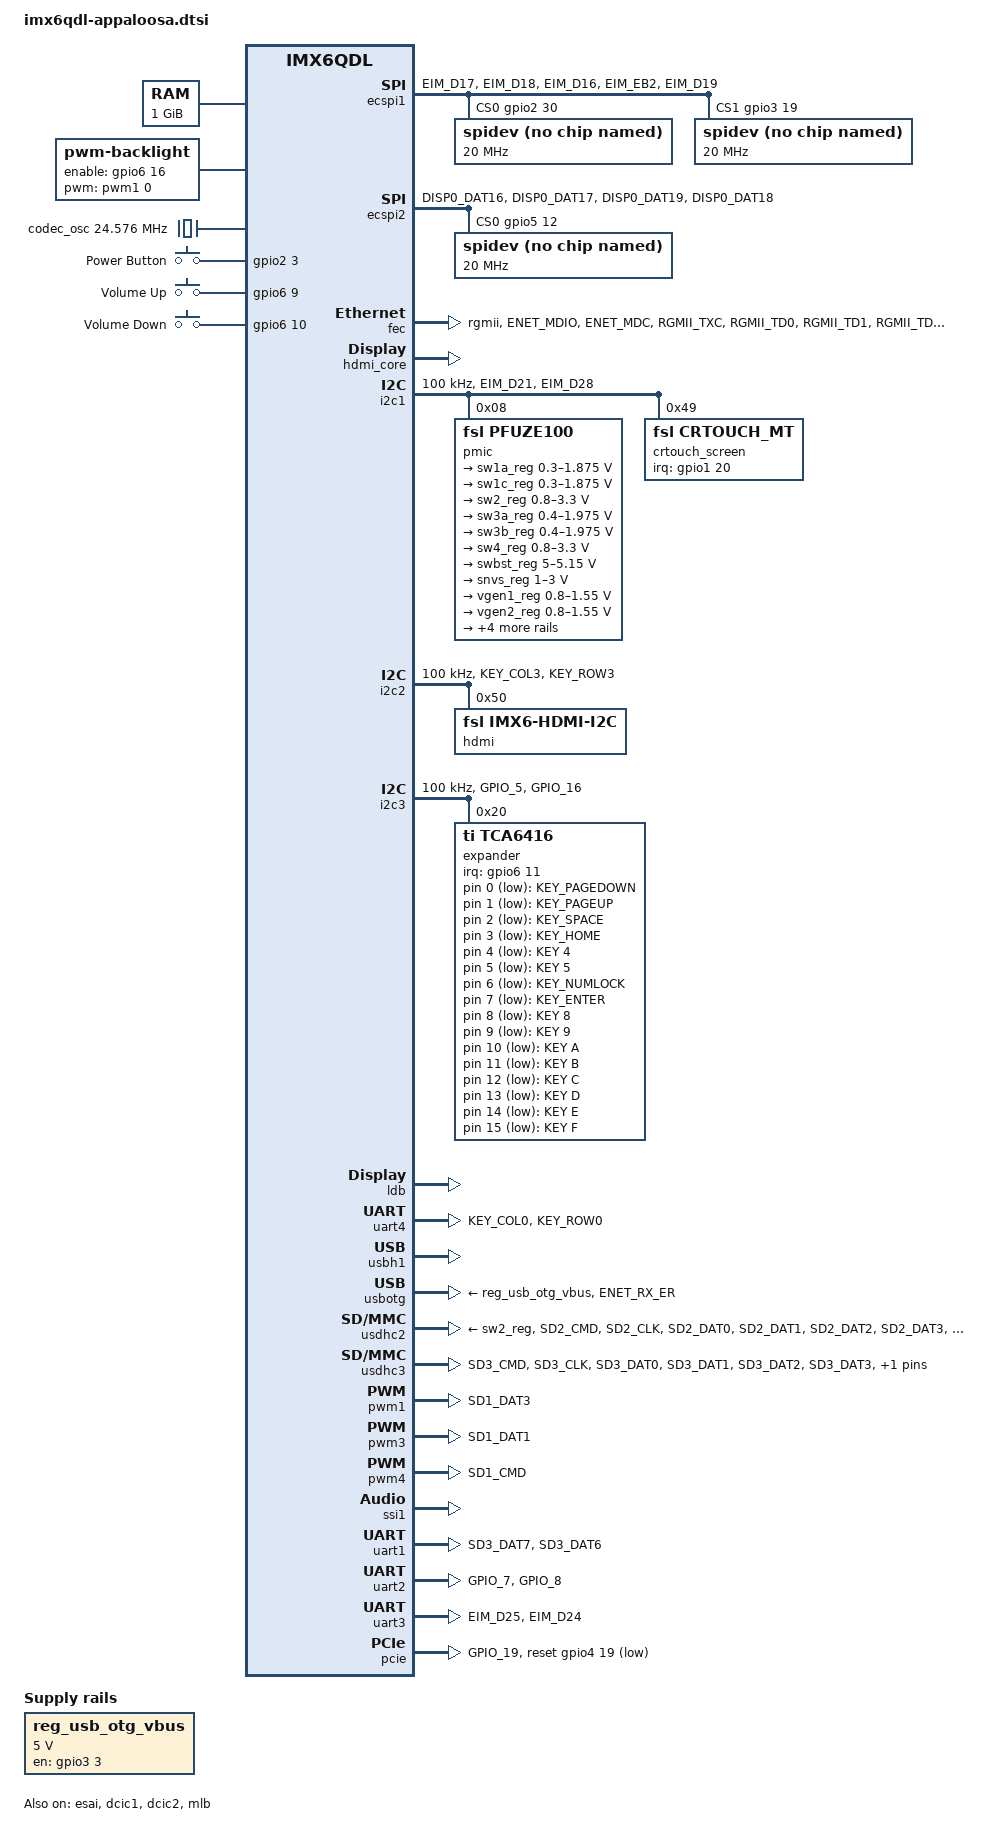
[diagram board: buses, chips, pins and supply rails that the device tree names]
/*
 * Copyright 2014 Synexxus Devices
 * Copyright 2012 Freescale Semiconductor, Inc.
 *
 * The code contained herein is licensed under the GNU General Public
 * License. You may obtain a copy of the GNU General Public License
 * Version 2 or later at the following locations:
 *
 * http://www.opensource.org/licenses/gpl-license.html
 * http://www.gnu.org/copyleft/gpl.html
 */

#include <dt-bindings/input/input.h>
#include <dt-bindings/gpio/gpio.h>

/ {
	aliases {
                mxcfb0 = &hdmi_display;
                mxcfb1 = &lvds_display;
                mxcfb2 = &lcd_display;
                mxcfb3 = &lvds_display_2;
		hdmi_display = &hdmi_display;
		lvds_display = &lvds_display;
		lcd_display = &lcd_display;
		hannstar = &XGA_LVDS0;

		lvds_display_2 = &lvds_display_2;
		hannstar_2 = &XGA_LVDS1;
		ldb = &ldb;
	};

	memory {
		reg = <0x10000000 0x40000000>;
	};

	backlight {
		compatible = "pwm-backlight";
		pwms = <&pwm1 0 5000000>;
		brightness-levels = <0 2 4 8 16 32 48 64 72 96 128 140 196 224 255>;
		default-brightness-level = <9>;

		// This is the LVDS_PANEL_EN (DISP_PWR_EN Net)
		// Was &gpio6 14 0 for the Highlander board & on Aristeus
		enable-gpios = <&gpio6 16 0>;
	};

	clocks {
		codec_osc: anaclk2 {
			compatible = "fixed-clock";
			#clock-cells = <0>;
			clock-frequency = <24576000>;
		};
	};

	regulators {
		compatible = "simple-bus";

		reg_usb_otg_vbus: usb_otg_vbus {
			compatible = "regulator-fixed";
			regulator-name = "usb_otg_vbus";
			regulator-min-microvolt = <5000000>;
			regulator-max-microvolt = <5000000>;
			gpio = <&gpio3 3 0>;		// Change dto dummy search button
			enable-active-high;
		};

	};

	gpio-keys {
		compatible = "gpio-keys";
		power {
			label = "Power Button";
			gpios = <&gpio2 3 0>;
			linux,code = <116>; /* KEY_POWER */
			gpio-key,wakeup;
		};

		volume-up {
			label = "Volume Up";
			gpios = <&gpio6 9 0>;
			linux,code = <115>; /* KEY_VOLUMEUP */
		};

		volume-down {
			label = "Volume Down";
			gpios = <&gpio6 10 0>;
			linux,code = <114>; /* KEY_VOLUMEDOWN */
		};
	};

	hdmi_display: fb@0 {
		compatible = "fsl,mxc_sdc_fb";
		disp_dev = "hdmi";
		interface_pix_fmt = "RGB24";
		mode_str ="1024x768M@60";
		default_bpp = <32>;
		int_clk = <0>;
		late_init = <0>;
		status = "disabled";
	};

	lvds_display: fb@1 {
		compatible = "fsl,mxc_sdc_fb";
		disp_dev = "ldb";
		interface_pix_fmt = "RGB666";
		//BBBdefault_bpp = <16>;
		default_bpp = <10>;
		int_clk = <0>;
		late_init = <0>;
		status = "okay";
	};

	lcd_display: fb@2 {
		compatible = "fsl,mxc_sdc_fb";
		disp_dev = "lcd";
		interface_pix_fmt = "RGB666";
		default_bpp = <16>;
		int_clk = <0>;
		late_init = <0>;
		status = "disabled";
	};

	lvds_display_2: fb@3 {
		compatible = "fsl,mxc_sdc_fb";
		disp_dev = "ldb";
		interface_pix_fmt = "RGB666";
		//BBBdefault_bpp = <16>;
		default_bpp = <10>;
		int_clk = <0>;
		late_init = <0>;
		status = "okay";
	};

	lcd0: lcd@0 {
		compatible = "fsl,lcd";
		ipu_id = <0>;
		disp_id = <0>;
		default_ifmt = "RGB666";
		pinctrl-names = "default";
		pinctrl-0 = <&pinctrl_ipu1>;
		status = "disabled";
	};

	sound-hdmi {
		compatible = "fsl,imx6q-audio-hdmi",
			     "fsl,imx-audio-hdmi";
		model = "imx-audio-hdmi";
		hdmi-controller = <&hdmi_audio>;
	};

	v4l2_cap_0 {
		compatible = "fsl,imx6q-v4l2-capture";
		/* CHANGE TO 0 and 0 for PERICOM*/
		ipu_id = <1>;
		csi_id = <1>;
		mclk_source = <0>;
		status = "disabled";
	};

	v4l2_out {
		compatible = "fsl,mxc_v4l2_output";
		status = "okay";
	};
	
	gpio_keys_bezel {
		compatible = "gpio-keys";
			
		exInput0 {
			label = "KEY_PAGEDOWN";
			gpios = <&expander 0 GPIO_ACTIVE_LOW>;
			linux,code = <KEY_PAGEDOWN>;
	        };
		exInput1 {
			label = "KEY_PAGEUP";
			gpios = <&expander 1 GPIO_ACTIVE_LOW>;
			linux,code = <KEY_PAGEUP>; 
		};
		exInput2 {
			label = "KEY_SPACE";
			gpios = <&expander 2 GPIO_ACTIVE_LOW>;
			linux,code = <KEY_SPACE>;
		};
		exInput3 {
			label = "KEY_HOME";
			gpios = <&expander 3 GPIO_ACTIVE_LOW>;
			linux,code = <KEY_HOME>;
		};
		exInput4 {
                        label = "KEY 4";
                        gpios = <&expander 4 GPIO_ACTIVE_LOW>;
                        linux,code = <5>;
                };
		exInput5 {
                        label = "KEY 5";
                        gpios = <&expander 5 GPIO_ACTIVE_LOW>;
                        linux,code = <6>;
                };
		exInput6 {
			label = "KEY_NUMLOCK";
			gpios = <&expander 6 GPIO_ACTIVE_LOW>;
			linux,code = <KEY_NUMLOCK>;
		};
		exInput7 {
			label = "KEY_ENTER";
			gpios = <&expander 7 GPIO_ACTIVE_LOW>;
			linux,code = <KEY_ENTER>;
		};

		exInput8 {
                        label = "KEY 8";
                        gpios = <&expander 8 GPIO_ACTIVE_LOW>;
                        linux,code = <9>;
                };
                exInput9 {
                        label = "KEY 9";
                        gpios = <&expander 9 GPIO_ACTIVE_LOW>;
                        linux,code = <10>;
                };
                exInput10 {
                        label = "KEY A";
                        gpios = <&expander 10 GPIO_ACTIVE_LOW>;
                        linux,code = <30>;
                };
                exInput11 {
                        label = "KEY B";
                        gpios = <&expander 11 GPIO_ACTIVE_LOW>;
                        linux,code = <48>;      
                };
                exInput12 {
                        label = "KEY C";
                        gpios = <&expander 12 GPIO_ACTIVE_LOW>;
                        linux,code = <46>;      
                };
                exInput13 {
                        label = "KEY D";
                        gpios = <&expander 13 GPIO_ACTIVE_LOW>;
                        linux,code = <32>;
                };
                exInput14 {
                        label = "KEY E";
                        gpios = <&expander 14 GPIO_ACTIVE_LOW>;
                        linux,code = <18>;
                };
                exInput15 {
                        label = "KEY F";
                        gpios = <&expander 15 GPIO_ACTIVE_LOW>;
                        linux,code = <33>;
                };
	};

	leds-bezel {
		compatiable = "gpio-leds";
		pinctrl-0 = <&pinctrl_bezelled>;
		pinctrl-names = "default";
	
		bezel-blue {
			label ="BEZEL_BLUE";
			gpios = <&gpio2 2 GPIO_ACTIVE_LOW>;
		};
		bezel-green {
			label ="BEZEL_GREEN";
                        gpios = <&gpio2 1 GPIO_ACTIVE_LOW>;
		};
		
	};
};


&ecspi1 {
	fsl,spi-num-chipselects = <2>;
	cs-gpios = <&gpio2 30 0
		    &gpio3 19 0>;

	pinctrl-names = "default";
	pinctrl-0 = <&pinctrl_ecspi1 
		     &pinctrl_ecspi1_cs0
		     &pinctrl_ecspi1_cs1>;
	status = "okay";

	// First EEPROM
        spidev@0x00 {
                compatible = "spidev";
                spi-max-frequency = <20000000>;
                reg = <0>;
        };

	// Second EEPROM (boot)
        spidev@0x01 {
                compatible = "spidev";
                spi-max-frequency = <20000000>;
                reg = <1>;
        };

/*	flash: m25p80@0 {
		#address-cells = <1>;
		#size-cells = <1>;
		compatible = "st,m25p32";
		spi-max-frequency = <20000000>;
		reg = <0>;
	};
*/
};

&ecspi2 {
	fsl,spi-num-chipselects = <1>;
	cs-gpios = <&gpio5 12 0>, <0>;
	pinctrl-names = "default";
	pinctrl-0 = <&pinctrl_ecspi2
  		     &pinctrl_ecspi2_cs>;
	status = "okay";

        spidev@0x00 {
                compatible = "spidev";
                spi-max-frequency = <20000000>;
                reg = <0>;
        };
};


/*&ecspi3 {
	fsl,spi-num-chipselects = <4>;
	cs-gpios = <&gpio4 24 0>,
		   <&gpio4 25 0>,
		   <&gpio4 26 0>,
		   <&gpio4 27 0>;
	pinctrl-names = "default";
	pinctrl-0 = <&pinctrl_ecspi3_1 
	             &pinctrl_ecspi3_cs_1
		     &pinctrl_ecspi3_cs_2
		     &pinctrl_ecspi3_cs_3
		     &pinctrl_ecspi3_cs_4>;
	status = "okay";
        spidev@0x00 {
                compatible = "spidev";
                spi-max-frequency = <30000000>;
                reg = <0>;
        };
        spidev@0x01 {
                compatible = "spidev";
                spi-max-frequency = <30000000>;
                reg = <1>;
        };
        spidev@0x02 {
                compatible = "spidev";
                spi-max-frequency = <30000000>;
                reg = <2>;
        };
        spidev@0x03 {
                compatible = "spidev";
                spi-max-frequency = <30000000>;
                reg = <3>;
        };
};*/


&esai {
	pinctrl-names = "default";
	pinctrl-0 = <&pinctrl_esai2>;
	status = "okay";
};

&fec {
	pinctrl-names = "default";
	pinctrl-0 = <&pinctrl_enet>;         /* original had _4 */
	phy-mode = "rgmii";
	status = "okay";
};

/* SABRESD LDO BYPASS SETUP */
&gpc {
        fsl,ldo-bypass = <1>;
};


/* fsl,ldo-bypass = <0>;  use ldo-bypass, u-boot will check it and configure */
/* fsl,wdog-reset = <2>;  watchdog select of reset source */
/*pu-supply = <&pu_dummy>; /* ldo-bypass:use pu_dummy if VDDSOC share with VDDPU */
/* BBBBB if anything use the SABRESD LDO BYPASS REFERENCE ABOVE*/
/*&gpc {
	fsl,cpu_pupscr_sw2iso = <0xf>;
	fsl,cpu_pupscr_sw = <0xf>;
	fsl,cpu_pdnscr_iso2sw = <0x1>;
	fsl,cpu_pdnscr_iso = <0x1>;
	fsl,ldo-bypass = <0>;
	fsl,wdog-reset = <2>;
	pu-supply=<&reg_pu>;
};*/

/*  BBBB NOW SEEMS TO BE CONTROLLED BY GPC */
/*pu-supply = <&pu_dummy>;*/ /* ldo-bypass:use pu_dummy if VDDSOC share with VDDPU */
/*&gpu {
	pu-supply=<&reg_pu>;
};*/

/* Added from imx6qdl-sabresd.dtsi reference*/
&vpu {
	/*pu-supply = <&pu_dummy>;*/ /* ldo-bypass:use pu_dummy if VDDSOC share with VDDPU */
	pu-supply=<&reg_pu>;
};

&hdmi_core {
	compatible = "fsl,imx6dl-hdmi-core";
        reg = <0x00120000 0x9000>;
        clocks = <&clks 124>, <&clks 123>, <&clks 138>;
        clock-names = "hdmi_isfr", "hdmi_iahb", "mipi_core";
	ipu_id = <0>;
	disp_id = <1>;
        status = "okay";
};

/*&hdmi_video: hdmi_video@020e0000 {*/

&hdmi_video {
	compatible = "fsl,imx6dl-hdmi-video";
        reg =  <0x020e0000 0x1000>;
        reg-names = "hdmi_gpr";
        interrupts = <0 115 0x04>;
        clocks = <&clks 124>, <&clks 123>, <&clks 138>;
        clock-names = "hdmi_isfr", "hdmi_iahb", "mipi_core";
        status = "disabled";
};

/*hdmi_audio: hdmi_audio@00120000 {*/
&hdmi_audio {
	compatible = "fsl,imx6dl-hdmi-audio";
        clocks = <&clks 124>, <&clks 123>, <&clks 138>;
        clock-names = "hdmi_isfr", "hdmi_iahb", "mipi_core";
        dmas = <&sdma 2 22 0>;
        dma-names = "tx";
        status = "disabled";
};


/*hdmi_cec: hdmi_cec@00120000 {*/
&hdmi_cec {
	compatible = "fsl,imx6dl-hdmi-cec";
        interrupts = <0 115 0x04>;
    	pinctrl-names = "default";
    	pinctrl-0 = <&pinctrl_hdmi_cec>;  // Use EIM_A25 for CEC_IN
        status = "disabled";
};

&i2c1 {
    clock-frequency = <100000>;
    pinctrl-names = "default";
    pinctrl-0 = <&pinctrl_i2c1>;
    status = "okay";

	/*adv7604_camera: adv7604_camera@20 { 	// i2c1 driver 
		compatible = "adv,adv7604_camera";
		reg = <0x20>;
		pinctrl-names = "default";
		pinctrl-0 = <&pinctrl_ipu2_2>;
		clocks = <&clks 201>;
		clock-names = "csi_mclk";
		DOVDD-supply = <&sw2_reg>; 	// 3.3v 
		AVDD-supply = <&vgen4_reg>;  	// 1.8v 
		DVDD-supply = <&sw2_reg>;  	// 1.8v 
		//pwn-gpios = <&gpio6 9 1>;   	// Not True 
		//rst-gpios = <&gpio1 4 0>;   	// Reset Signal 
		//pwn-gpios = <&gpio5 27 1>;	// ARISTEUS TEST BOARD POWER DOWN 
		pwn-gpios = <&gpio6 3 0>;	// ARISTEUS TEST BOARD POWER DOWN #2
		rst-gpios = <&gpio6 1 0>;	// ARISTEUS TEST BOARD RESET 
		ipu_id = <1>;
		csi_id = <1>;
		//mclk = <24000000>;		// Gated Mode
		mclk = <0>;			// BT.656
		mclk_source = <0>;
	};*/

	pmic: pfuze100@08 {
		compatible = "fsl,pfuze100";
			reg = <0x08>;

			regulators {
				sw1a_reg: sw1ab {
				regulator-min-microvolt = <300000>;
				regulator-max-microvolt = <1875000>;
				regulator-boot-on;
				regulator-always-on;
				regulator-ramp-delay = <6250>;
			};

			sw1c_reg: sw1c {
				regulator-min-microvolt = <300000>;
				regulator-max-microvolt = <1875000>;
				regulator-boot-on;
				regulator-always-on;
				regulator-ramp-delay = <6250>;
			};

			sw2_reg: sw2 {
				regulator-min-microvolt = <800000>;
				regulator-max-microvolt = <3300000>;
				regulator-boot-on;
				regulator-always-on;
			};

			sw3a_reg: sw3a {
				regulator-min-microvolt = <400000>;
				regulator-max-microvolt = <1975000>;
				regulator-boot-on;
				regulator-always-on;
			};

			sw3b_reg: sw3b {
				regulator-min-microvolt = <400000>;
				regulator-max-microvolt = <1975000>;
				regulator-boot-on;
				regulator-always-on;
			};

			sw4_reg: sw4 {
				regulator-min-microvolt = <800000>;
				regulator-max-microvolt = <3300000>;
			};

			swbst_reg: swbst {
				regulator-min-microvolt = <5000000>;
				regulator-max-microvolt = <5150000>;
			};

			snvs_reg: vsnvs {
				regulator-min-microvolt = <1000000>;
				regulator-max-microvolt = <3000000>;
				regulator-boot-on;
				regulator-always-on;
			};

			vref_reg: vrefddr {
				regulator-boot-on;
				regulator-always-on;
			};

			vgen1_reg: vgen1 {
				regulator-min-microvolt = <800000>;
				regulator-max-microvolt = <1550000>;
			};

			vgen2_reg: vgen2 {
				regulator-min-microvolt = <800000>;
				regulator-max-microvolt = <1550000>;
			};

			vgen3_reg: vgen3 {
				regulator-min-microvolt = <1800000>;
				regulator-max-microvolt = <3300000>;
			};

			vgen4_reg: vgen4 {
				regulator-min-microvolt = <1800000>;
				regulator-max-microvolt = <3300000>;
				regulator-always-on;
			};

			vgen5_reg: vgen5 {
				regulator-min-microvolt = <1800000>;
				regulator-max-microvolt = <3300000>;
				regulator-always-on;
			};

			vgen6_reg: vgen6 {
				regulator-min-microvolt = <1800000>;
				regulator-max-microvolt = <3300000>;
				regulator-always-on;
			};
		};
	};
	crtouch_screen: crtouch@49 {
		compatible = "fsl,crtouch_mt";
		reg = <0x49>;
		interrupt-parent = <&gpio1>;
		interrupts = <20 0x2>; /*Pin Active high to low edge*/
	};

};


&i2c2 {
	clock-frequency = <100000>;
	pinctrl-names = "default";
	pinctrl-0 = <&pinctrl_i2c2>;
	status = "okay";

	hdmi: edid@50 {
                compatible = "fsl,imx6-hdmi-i2c";
                reg = <0x50>;
        };

	/* Pericom is on this one! */
};

&i2c3 {
	clock-frequency = <100000>;
	pinctrl-names = "default";
	pinctrl-0 = <&pinctrl_i2c3>;
	status = "okay";


	expander: tca6416@20 {
		compatible = "ti,tca6416";
		reg = <0x20>;
		interrupt-parent = <&gpio6>;
		interrupts = <11 0x2>; /*Pin Active high to low edge*/
		#gpio-cells = <2>;
		gpio-controller;
	};
};

&iomuxc {
	pinctrl-names = "default";
	pinctrl-0 = <&pinctrl_hog>;

	imx6q-appaloosa {
		pinctrl_hog: hoggrp {
			fsl,pins = <
				//MX6QDL_PAD_GPIO_19__GPIO4_IO05          0x1b0b0		/* CAN STBY */
				//MX6QDL_PAD_EIM_D19__GPIO3_IO19      	0x80000000  	/* spi-nor CS1 */
				MX6QDL_PAD_ENET_RXD0__GPIO1_IO27    	0x000b0     	/* ethernet phy reset */
				MX6QDL_PAD_ENET_TX_EN__GPIO1_IO28   	0x1b0b0     	/* ethernet phy interrupt */
				MX6QDL_PAD_SD3_DAT5__GPIO7_IO00     	0x80000000  	/* USDHC3 CD */
				MX6QDL_PAD_GPIO_17__GPIO7_IO12      	0x0b0b0       	/* USB Hub Reset */

				//MX6QDL_PAD_NANDF_WP_B__GPIO6_IO09	0x0b0b0		/* (Output with pullup) USDHC4 (eMMC) RESET Signal*/
				//MX6QDL_PAD_NANDF_WP_B__GPIO6_IO09	0x80000000		/* Use u-boot's configuration USDHC4 (eMMC) RESET Signal*/
				MX6QDL_PAD_NANDF_CS3__GPIO6_IO16	0x1b0b0		/* EN/VDDIO signal for the backlight driver (LP8860) */
				MX6QDL_PAD_NANDF_CS1__GPIO6_IO14	0x1b0b0		/* PANEL Enable Signal GPIO */
				>;
		};

		pinctrl_pcie: pciegrp {
			fsl,pins = <
				//MX6QDL_PAD_NANDF_WP_B__IPU2_SISG5                 0x000b0         /* pcie reset ==> Used to be emmc reset. Is pin E15 GPIO6 IO09*/
				//MX6QDL_PAD_SD4_DAT7__GPIO2_IO15		0x000b0		/* REV. 3 PCIE reset */
				MX6QDL_PAD_GPIO_19__GPIO4_IO05			0x000b0		/* REV. 4 PCIE Reset */
				//MX6QDL_PAD_GPIO_19__GPIO4_IO05		0x0b0b0		/* Power-on-GPIO*/
				//MX6QDL_PAD_GPIO_17__GPIO7_IO12		0x0b0b0		/* False wake up signal*/
				//MX6QDL_PAD_NANDF_D1__GPIO2_IO01		0x000b0		/* disable-gpio*/
			>;
		};
		
		pinctrl_bezelled: bezelled {
			fsl,pins = <
				MX6QDL_PAD_NANDF_D1__GPIO2_IO01		0x80000000	/* Green LED Switch (On/Off) GPIO */
				MX6QDL_PAD_NANDF_D2__GPIO2_IO02		0x80000000	/* Blue  LED Swotcj (On/Off) GPIO */ 
			>;
		};
		/* 8-Bit Parallel Camera */
		pinctrl_ipu2_2: ipu2grp-2 {
                    fsl,pins = <
                            MX6QDL_PAD_EIM_DA9__IPU2_CSI1_DATA00            0x80000000
                            MX6QDL_PAD_EIM_DA8__IPU2_CSI1_DATA01            0x80000000
                            MX6QDL_PAD_EIM_DA7__IPU2_CSI1_DATA02            0x80000000
                            MX6QDL_PAD_EIM_DA6__IPU2_CSI1_DATA03            0x80000000
                            MX6QDL_PAD_EIM_DA5__IPU2_CSI1_DATA04            0x80000000
                            MX6QDL_PAD_EIM_DA4__IPU2_CSI1_DATA05            0x80000000
                            MX6QDL_PAD_EIM_DA3__IPU2_CSI1_DATA06            0x80000000
                            MX6QDL_PAD_EIM_DA2__IPU2_CSI1_DATA07            0x80000000
                            MX6QDL_PAD_EIM_DA1__IPU2_CSI1_DATA08            0x80000000
                            MX6QDL_PAD_EIM_DA0__IPU2_CSI1_DATA09            0x80000000
                            MX6QDL_PAD_EIM_EB1__IPU2_CSI1_DATA10            0x80000000
                            MX6QDL_PAD_EIM_EB0__IPU2_CSI1_DATA11            0x80000000
                            MX6QDL_PAD_EIM_A17__IPU2_CSI1_DATA12            0x80000000
                            MX6QDL_PAD_EIM_A18__IPU2_CSI1_DATA13            0x80000000
                            MX6QDL_PAD_EIM_A19__IPU2_CSI1_DATA14            0x80000000
                            MX6QDL_PAD_EIM_A20__IPU2_CSI1_DATA15            0x80000000
                            MX6QDL_PAD_EIM_A21__IPU2_CSI1_DATA16            0x80000000
                            MX6QDL_PAD_EIM_A22__IPU2_CSI1_DATA17            0x80000000
                            MX6QDL_PAD_EIM_A23__IPU2_CSI1_DATA18            0x80000000
                            MX6QDL_PAD_EIM_A24__IPU2_CSI1_DATA19            0x80000000
                            MX6QDL_PAD_EIM_A16__IPU2_CSI1_PIXCLK            0x80000000
                            MX6QDL_PAD_EIM_DA11__IPU2_CSI1_HSYNC            0x80000000
                            MX6QDL_PAD_EIM_DA12__IPU2_CSI1_VSYNC            0x80000000
                            MX6QDL_PAD_EIM_DA10__GPIO3_IO10             0xb0b1
                    >;
                };

                /* 16-bit Parallel Port*/
                pinctrl_ipu2_3: ipu2grp-3 {
                    fsl,pins = <
                            MX6QDL_PAD_EIM_A16__IPU2_CSI1_PIXCLK            0x80000000
                            MX6QDL_PAD_EIM_DA11__IPU2_CSI1_HSYNC            0x80000000
                            MX6QDL_PAD_EIM_DA12__IPU2_CSI1_VSYNC            0x80000000
                            MX6QDL_PAD_EIM_DA10__IPU2_CSI1_DATA_EN          0x80000000
                            MX6QDL_PAD_EIM_DA9__IPU2_CSI1_DATA00            0x80000000
                            MX6QDL_PAD_EIM_DA8__IPU2_CSI1_DATA01            0x80000000
                            MX6QDL_PAD_EIM_DA7__IPU2_CSI1_DATA02            0x80000000
                            MX6QDL_PAD_EIM_DA6__IPU2_CSI1_DATA03            0x80000000
                            MX6QDL_PAD_EIM_DA5__IPU2_CSI1_DATA04            0x80000000
                            MX6QDL_PAD_EIM_DA4__IPU2_CSI1_DATA05            0x80000000
                            MX6QDL_PAD_EIM_DA3__IPU2_CSI1_DATA06            0x80000000
                            MX6QDL_PAD_EIM_DA2__IPU2_CSI1_DATA07            0x80000000
                            MX6QDL_PAD_EIM_DA1__IPU2_CSI1_DATA08            0x80000000
                            MX6QDL_PAD_EIM_DA0__IPU2_CSI1_DATA09            0x80000000
                            MX6QDL_PAD_EIM_EB1__IPU2_CSI1_DATA10            0x80000000
                            MX6QDL_PAD_EIM_EB0__IPU2_CSI1_DATA11            0x80000000
                            MX6QDL_PAD_EIM_A17__IPU2_CSI1_DATA12            0x80000000
                            MX6QDL_PAD_EIM_A18__IPU2_CSI1_DATA13            0x80000000
                            MX6QDL_PAD_EIM_A19__IPU2_CSI1_DATA14            0x80000000
                            MX6QDL_PAD_EIM_A20__IPU2_CSI1_DATA15            0x80000000
                    >;
                };
		pinctrl_audmux_4: audmux-4 {
                        fsl,pins = <
                                MX6QDL_PAD_KEY_COL0__AUD5_TXC  0x130b0
                                MX6QDL_PAD_KEY_ROW0__AUD5_TXD  0x130b0
                                MX6QDL_PAD_KEY_ROW1__AUD5_RXD  0x130b0
                                MX6QDL_PAD_KEY_COL1__AUD5_TXFS  0x130b0
                        >;
                };

		pinctrl_enet: enetgrp {
                 	fsl,pins = <
                         	MX6QDL_PAD_ENET_MDIO__ENET_MDIO       0x1b0b0
                         	MX6QDL_PAD_ENET_MDC__ENET_MDC         0x1b0b0
                         	MX6QDL_PAD_RGMII_TXC__RGMII_TXC       0x1b0b0
                         	MX6QDL_PAD_RGMII_TD0__RGMII_TD0       0x1b0b0
                         	MX6QDL_PAD_RGMII_TD1__RGMII_TD1       0x1b0b0
                         	MX6QDL_PAD_RGMII_TD2__RGMII_TD2       0x1b0b0
                         	MX6QDL_PAD_RGMII_TD3__RGMII_TD3       0x1b0b0
                         	MX6QDL_PAD_RGMII_TX_CTL__RGMII_TX_CTL 0x1b0b0
                         	MX6QDL_PAD_ENET_REF_CLK__ENET_TX_CLK  0x1b0b0
                         	MX6QDL_PAD_RGMII_RXC__RGMII_RXC       0x1b0b0
                         	MX6QDL_PAD_RGMII_RD0__RGMII_RD0       0x1b0b0
                         	MX6QDL_PAD_RGMII_RD1__RGMII_RD1       0x1b0b0
                         	MX6QDL_PAD_RGMII_RD2__RGMII_RD2       0x1b0b0
                         	MX6QDL_PAD_RGMII_RD3__RGMII_RD3       0x1b0b0
                         	MX6QDL_PAD_RGMII_RX_CTL__RGMII_RX_CTL 0x1b0b0
                 	>;
         	};

		pinctrl_ipu1: ipu1grp {
                 	fsl,pins = <
                         	MX6QDL_PAD_DI0_DISP_CLK__IPU1_DI0_DISP_CLK 0x10
                         	MX6QDL_PAD_DI0_PIN15__IPU1_DI0_PIN15       0x10
                         	MX6QDL_PAD_DI0_PIN2__IPU1_DI0_PIN02        0x10
                         	MX6QDL_PAD_DI0_PIN3__IPU1_DI0_PIN03        0x10
                         	MX6QDL_PAD_DISP0_DAT0__IPU1_DISP0_DATA00   0x10
                         	MX6QDL_PAD_DISP0_DAT1__IPU1_DISP0_DATA01   0x10
                         	MX6QDL_PAD_DISP0_DAT2__IPU1_DISP0_DATA02   0x10
                         	MX6QDL_PAD_DISP0_DAT3__IPU1_DISP0_DATA03   0x10
                         	MX6QDL_PAD_DISP0_DAT4__IPU1_DISP0_DATA04   0x10
                         	MX6QDL_PAD_DISP0_DAT5__IPU1_DISP0_DATA05   0x10
                         	MX6QDL_PAD_DISP0_DAT6__IPU1_DISP0_DATA06   0x10
                         	MX6QDL_PAD_DISP0_DAT7__IPU1_DISP0_DATA07   0x10
                         	MX6QDL_PAD_DISP0_DAT8__IPU1_DISP0_DATA08   0x10
                         	MX6QDL_PAD_DISP0_DAT9__IPU1_DISP0_DATA09   0x10
                        	MX6QDL_PAD_DISP0_DAT10__IPU1_DISP0_DATA10  0x10
                         	MX6QDL_PAD_DISP0_DAT11__IPU1_DISP0_DATA11  0x10
                         	MX6QDL_PAD_DISP0_DAT12__IPU1_DISP0_DATA12  0x10
                         	MX6QDL_PAD_DISP0_DAT13__IPU1_DISP0_DATA13  0x10
                         	MX6QDL_PAD_DISP0_DAT14__IPU1_DISP0_DATA14  0x10
                         	MX6QDL_PAD_DISP0_DAT15__IPU1_DISP0_DATA15  0x10
                         	MX6QDL_PAD_DISP0_DAT16__IPU1_DISP0_DATA16  0x10
                         	MX6QDL_PAD_DISP0_DAT17__IPU1_DISP0_DATA17  0x10
                         	MX6QDL_PAD_DISP0_DAT18__IPU1_DISP0_DATA18  0x10
                         	MX6QDL_PAD_DISP0_DAT19__IPU1_DISP0_DATA19  0x10
                         	MX6QDL_PAD_DISP0_DAT20__IPU1_DISP0_DATA20  0x10
                         	MX6QDL_PAD_DISP0_DAT21__IPU1_DISP0_DATA21  0x10
                         	MX6QDL_PAD_DISP0_DAT22__IPU1_DISP0_DATA22  0x10
                         	MX6QDL_PAD_DISP0_DAT23__IPU1_DISP0_DATA23  0x10
                 	>;
         	};

		pinctrl_mlb: mlbgrp {
                        fsl,pins = <
                                MX6QDL_PAD_ENET_TXD1__MLB_CLK 0x80000000
                                MX6QDL_PAD_GPIO_6__MLB_SIG    0x80000000
                                MX6QDL_PAD_GPIO_2__MLB_DATA   0x80000000
                        >;
                };

		pinctrl_pwm1: pwm1grp {
                        fsl,pins = <
                                MX6QDL_PAD_SD1_DAT3__PWM1_OUT 0x1b0b1
                        >;
                };

		pinctrl_pwm3: pwm3grp {
                 	fsl,pins = <
                         	MX6QDL_PAD_SD1_DAT1__PWM3_OUT 0x1b0b1
                 	>;
         	};

         	pinctrl_pwm4: pwm4grp {
                 	fsl,pins = <
                         	MX6QDL_PAD_SD1_CMD__PWM4_OUT 0x1b0b1
                 	>;
         	};

         	pinctrl_uart1: uart1grp {
                 	fsl,pins = <
                         	MX6QDL_PAD_SD3_DAT7__UART1_TX_DATA 0x1b0b1
                         	MX6QDL_PAD_SD3_DAT6__UART1_RX_DATA 0x1b0b1
                 	>;
         	};

         	pinctrl_uart2: uart2grp {
                 	fsl,pins = <
                         	MX6QDL_PAD_GPIO_7__UART2_TX_DATA 0x1b0b1
                         	MX6QDL_PAD_GPIO_8__UART2_RX_DATA 0x1b0b1
                 	>;
        	};

         	pinctrl_uart3: uart3grp {
                 	fsl,pins = <
                         	MX6QDL_PAD_EIM_D25__UART3_RX_DATA 0x1b0b1
                         	MX6QDL_PAD_EIM_D24__UART3_TX_DATA 0x1b0b1
                 	>;
         	};

		pinctrl_uart4: uart4grp {
                        fsl,pins = <
                                MX6QDL_PAD_KEY_COL0__UART4_TX_DATA 0x1b0b1
                                MX6QDL_PAD_KEY_ROW0__UART4_RX_DATA 0x1b0b1
                        >;
                };

		pinctrl_esai2: esaigrp2 {
                        fsl,pins = <
                                MX6QDL_PAD_ENET_CRS_DV__ESAI_TX_CLK 0x1b030
                                MX6QDL_PAD_ENET_RXD1__ESAI_TX_FS    0x1b030
                                MX6QDL_PAD_ENET_TX_EN__ESAI_TX3_RX2 0x1b030
                                MX6QDL_PAD_GPIO_5__ESAI_TX2_RX3     0x1b030
                                MX6QDL_PAD_ENET_TXD0__ESAI_TX4_RX1  0x1b030
                                MX6QDL_PAD_ENET_MDC__ESAI_TX5_RX0   0x1b030
                                MX6QDL_PAD_GPIO_17__ESAI_TX0        0x1b030
                                MX6QDL_PAD_NANDF_CS3__ESAI_TX1      0x1b030
                                MX6QDL_PAD_ENET_MDIO__ESAI_RX_CLK   0x1b030
                                MX6QDL_PAD_GPIO_9__ESAI_RX_FS       0x1b030
                        >;
                };

		pinctrl_flexcan1: flexcan1grp {
                	fsl,pins = <
                        	MX6QDL_PAD_KEY_ROW2__FLEXCAN1_RX        0x17059
                	        MX6QDL_PAD_KEY_COL2__FLEXCAN1_TX        0x17059
                	>;
        	};

        	pinctrl_flexcan2: flexcan2grp {
                	fsl,pins = <
                        	MX6QDL_PAD_KEY_COL4__FLEXCAN2_TX        0x17059
                        	MX6QDL_PAD_KEY_ROW4__FLEXCAN2_RX        0x17059
       	         	>;
	        };

		pinctrl_gpmi_nand: gpminandgrp {
                        fsl,pins = <
                                MX6QDL_PAD_NANDF_CLE__NAND_CLE          0xb0b1
                                MX6QDL_PAD_NANDF_ALE__NAND_ALE          0xb0b1
                                MX6QDL_PAD_NANDF_WP_B__NAND_WP_B        0xb0b1
                                MX6QDL_PAD_NANDF_RB0__NAND_READY_B      0xb000
                                MX6QDL_PAD_NANDF_CS0__NAND_CE0_B        0xb0b1
                                MX6QDL_PAD_NANDF_CS1__NAND_CE1_B        0xb0b1
                                MX6QDL_PAD_SD4_CMD__NAND_RE_B           0xb0b1
                                MX6QDL_PAD_SD4_CLK__NAND_WE_B           0xb0b1
                                MX6QDL_PAD_NANDF_D0__NAND_DATA00        0xb0b1
                                MX6QDL_PAD_NANDF_D1__NAND_DATA01        0xb0b1
                                MX6QDL_PAD_NANDF_D2__NAND_DATA02        0xb0b1
                                MX6QDL_PAD_NANDF_D3__NAND_DATA03        0xb0b1
                                MX6QDL_PAD_NANDF_D4__NAND_DATA04        0xb0b1
                                MX6QDL_PAD_NANDF_D5__NAND_DATA05        0xb0b1
                                MX6QDL_PAD_NANDF_D6__NAND_DATA06        0xb0b1
                                MX6QDL_PAD_NANDF_D7__NAND_DATA07        0xb0b1
                                MX6QDL_PAD_SD4_DAT0__NAND_DQS           0x00b1
                        >;
                };

		pinctrl_hdmi_cec: hdmicecgrp {
                        fsl,pins = <
                                MX6QDL_PAD_EIM_A25__HDMI_TX_CEC_LINE 0x1f8b0
                        >;
                };

		pinctrl_ecspi1: ecspi1grp {
                        fsl,pins = <
                                MX6QDL_PAD_EIM_D17__ECSPI1_MISO         0x100b1
                                MX6QDL_PAD_EIM_D18__ECSPI1_MOSI         0x100b1
                                MX6QDL_PAD_EIM_D16__ECSPI1_SCLK         0x100b1
                        >;
                };

                pinctrl_ecspi1_cs1: ecspi1i_cs1 {
                        fsl,pins = <
                                MX6QDL_PAD_EIM_D19__GPIO3_IO19 0x80000000
                        >;
                };

		pinctrl_ecspi1_cs0: ecspi1_cs0 {
                        fsl,pins = <
                                MX6QDL_PAD_EIM_EB2__GPIO2_IO30 0x80000000
                        >;
                };

		pinctrl_usbotg: usbotggrp {
                        fsl,pins = <
                                MX6QDL_PAD_ENET_RX_ER__USB_OTG_ID 0x17059
                        >;
                };

		pinctrl_usdhc2: usdhc2grp {
                        fsl,pins = <
                                MX6QDL_PAD_SD2_CMD__SD2_CMD    0x17059
                                MX6QDL_PAD_SD2_CLK__SD2_CLK    0x10059
                                MX6QDL_PAD_SD2_DAT0__SD2_DATA0 0x17059
                                MX6QDL_PAD_SD2_DAT1__SD2_DATA1 0x17059
                                MX6QDL_PAD_SD2_DAT2__SD2_DATA2 0x17059
                                MX6QDL_PAD_SD2_DAT3__SD2_DATA3 0x17059
                        >;
                };

		pinctrl_usdhc3: usdhc3grp {
                        fsl,pins = <
                                MX6QDL_PAD_SD3_CMD__SD3_CMD    0x17059
                                MX6QDL_PAD_SD3_CLK__SD3_CLK    0x10059
                                MX6QDL_PAD_SD3_DAT0__SD3_DATA0 0x17059
                                MX6QDL_PAD_SD3_DAT1__SD3_DATA1 0x17059
                                MX6QDL_PAD_SD3_DAT2__SD3_DATA2 0x17059
                                MX6QDL_PAD_SD3_DAT3__SD3_DATA3 0x17059
                        >;
                };

		pinctrl_usdhc4: usdhc4grp {
                        fsl,pins = <
                                MX6QDL_PAD_SD4_CMD__SD4_CMD    0x17059
                                MX6QDL_PAD_SD4_CLK__SD4_CLK    0x10059
                                MX6QDL_PAD_SD4_DAT0__SD4_DATA0 0x17059
                                MX6QDL_PAD_SD4_DAT1__SD4_DATA1 0x17059
                                MX6QDL_PAD_SD4_DAT2__SD4_DATA2 0x17059
                                MX6QDL_PAD_SD4_DAT3__SD4_DATA3 0x17059
                                MX6QDL_PAD_SD4_DAT4__SD4_DATA4 0x17059
                                MX6QDL_PAD_SD4_DAT5__SD4_DATA5 0x17059
                                MX6QDL_PAD_SD4_DAT6__SD4_DATA6 0x17059
                                MX6QDL_PAD_SD4_DAT7__SD4_DATA7 0x17059
                        >;
                };

		pinctrl_ecspi2_cs: ecspi2_cs_grp {
                        fsl,pins = <
                                MX6QDL_PAD_DISP0_DAT18__GPIO5_IO12 0x80000000
                        >;
                };

                pinctrl_ecspi2: ecspi2grp {
                        fsl,pins = <
                                MX6QDL_PAD_DISP0_DAT16__ECSPI2_MOSI 0x100b1
                                MX6QDL_PAD_DISP0_DAT17__ECSPI2_MISO 0x100b1
                                MX6QDL_PAD_DISP0_DAT19__ECSPI2_SCLK 0x100b1
                        >;
                };

		pinctrl_i2c1: i2c1grp {
                        fsl,pins = <
                                MX6QDL_PAD_EIM_D21__I2C1_SCL 0x4001b8b1
                                MX6QDL_PAD_EIM_D28__I2C1_SDA 0x4001b8b1
                        >;
                };

		pinctrl_i2c2: i2c2grp {
                        fsl,pins = <
                                MX6QDL_PAD_KEY_COL3__I2C2_SCL 0x4001b8b1
                                MX6QDL_PAD_KEY_ROW3__I2C2_SDA 0x4001b8b1
                        >;
                };

		pinctrl_i2c3: i2c3grp {
                        fsl,pins = <
                                MX6QDL_PAD_GPIO_5__I2C3_SCL  0x4001b8b1
                                MX6QDL_PAD_GPIO_16__I2C3_SDA 0x4001b8b1
                        >;
                };

	};
};

&can1 {
	pinctrl-names = "default";
	pinctrl-0 = <&pinctrl_flexcan1>;
	/*trx-stby-gpio = <&gpio1 2 GPIO_ACTIVE_LOW>;*/
	status = "disabled";
};

&can2 {
	pinctrl-names = "default";
	pinctrl-0 = <&pinctrl_flexcan2>;
	status = "disabled";
};

&ldb {
	compatible = "fsl,imx6q-ldb";
	//split-mode =<1>;
	dual-mode = <1>;
	status = "okay";

	lvds-channel@0 {
		crtc = "ipu1-di0";		
		fsl,data-mapping = "spwg";
		fsl,data-width = <18>;
		//BBBstatus = "okay";
		status = "okay";
		
		display-timings {
			native-mode = <&XGA_LVDS0>;
			XGA_LVDS0: XGA-R-0 {
				clock-frequency = <65000000>;
				hactive = <1024>;
				vactive = <768>;
				hback-porch = <220>;
				hfront-porch = <40>;
				vback-porch = <21>;
				vfront-porch = <7>;
				hsync-len = <60>;
				vsync-len = <10>;
			};
			lvds0_timing1: WXGA-R {
				clock-frequency = <71000000>;
				hactive = <1280>;
				hfront-porch = <48>;
				hback-porch = <80>;
				hsync-len = <32>;
				vactive = <800>;
				vfront-porch = <3>;
				vback-porch = <14>;
				vsync-len = <6>;
			};
		};
	};

	lvds-channel@1 {
		crtc = "ipu1-di1";
		fsl,data-mapping = "spwg";
		//BBBfsl,data-width = <24>;
		fsl,data-width = <18>;
		status = "okay";
		primary;

		display-timings {
			native-mode = <&XGA_LVDS1>;
			XGA_LVDS1:  XGA-R-1 {
				clock-frequency = <65000000>;
				hactive = <1024>;
				vactive = <768>;
				hback-porch = <220>;
				hfront-porch = <40>;
				vback-porch = <21>;
				vfront-porch = <7>;
				hsync-len = <60>;
				vsync-len = <10>;
			};
			lvds1_timing1: WXGA-R {
				clock-frequency = <71000000>;
				hactive = <1280>;
				hfront-porch = <48>;
				hback-porch = <80>;
				hsync-len = <32>;
				vactive = <800>;
				vfront-porch = <3>;
				vback-porch = <14>;
				vsync-len = <6>;
			};
		};
	};
};

&dcic1 {
	dcic_id = <0>;
	dcic_mux = "dcic-hdmi";
	status = "okay";
};

&dcic2 {
	dcic_id = <1>;
	dcic_mux = "dcic-lvds0";
	status = "okay";
};

&mlb {
	pinctrl-names = "default";
	pinctrl-0 = <&pinctrl_mlb>;
	status = "okay";
};

&gpmi {
	pinctrl-names = "default";
	pinctrl-0 = <&pinctrl_gpmi_nand>;
	status = "disabled"; /* pin conflict with uart3 */
};

&uart4 {
	pinctrl-names = "default";
	pinctrl-0 = <&pinctrl_uart4>;
	status = "okay";
};

&usbh1 {
//	vbus-supply = <&reg_usb_h1_vbus>;
	status = "okay";
};

&usbotg {
    vbus-supply = <&reg_usb_otg_vbus>;
    pinctrl-names = "default";
    pinctrl-0 = <&pinctrl_usbotg>;
    disable-over-current;
    status = "okay";
};

&usdhc2 { 
    pinctrl-names = "default";
    pinctrl-0 = <&pinctrl_usdhc2>;
    cd-gpios = <&gpio1 4 0>;
    vmmc-supply = <&sw2_reg>;
    status = "okay";
};

&usdhc3 {
	pinctrl-names = "default";
	pinctrl-0 = <&pinctrl_usdhc3>;
	/*cd-gpios = <&gpio7 0 0>;*/
	wp-gpios = <&gpio7 1 0>;
	no-1-8-v;
	keep-power-in-suspend;
	enable-sdio-wakeup;
	status = "okay";
};

&usdhc4 {
	pinctrl-names = "default";//, "state_100mhz", "state_200mhz";
	pinctrl-0 = <&pinctrl_usdhc4>;
	//pinctrl-1 = <&pinctrl_usdhc4_1_100mhz>;
	//pinctrl-2 = <&pinctrl_usdhc4_1_200mhz>;
	bus-width = <4>;
	/*
	 * overwrite cd-gpios and wp-gpios since they are reused as eMMC DATA
	 * signals after rework
	 */
	cd-gpios = <>;
	wp-gpios = <>;
	no-1-8-v;
	//keep-power-in-suspend;
	//non-removable;
	status = "disabled";

    //pinctrl-names = "default";
    //pinctrl-0 = <&pinctrl_usdhc4_2>;
    //cd-gpios = <&gpio2 6 0>;
    //vmmc-supply = <&sw2_reg>;
    //status = "okay";
};

/*&mipi_csi {
	ipu_id = <0>;
	csi_id = <1>;
	v_channel = <0>;
	lanes = <2>;
	status = "disabled";
};

&mipi_dsi {
	dev_id = <0>;
	disp_id = <1>;
	lcd_panel = "TRULY-WVGA";
	//disp-power-on-supply = <&reg_mipi_dsi_pwr_on>;
	//resets = <&mipi_dsi_reset>;
	status = "disabled";
};*/

&pwm1 {
    pinctrl-names = "default";
    pinctrl-0 = <&pinctrl_pwm1>;
    status = "okay";
};

&pwm3 {
    pinctrl-names = "default";
    pinctrl-0 = <&pinctrl_pwm3>;
    status = "okay";
};

&pwm4 {
    pinctrl-names = "default";
    pinctrl-0 = <&pinctrl_pwm4>;
    status = "okay";
};

&ssi1 {
    fsl,mode = "i2s-slave";
    status = "okay";
};

&uart1 {
    pinctrl-names = "default";
    pinctrl-0 = <&pinctrl_uart1>;
    status = "okay";
};

&uart2 {
    pinctrl-names = "default";
    pinctrl-0 = <&pinctrl_uart2>;
    status = "okay";
};

&uart3 {
    pinctrl-names = "default";
    pinctrl-0 = <&pinctrl_uart3>;
    fsl,uart-has-rtscts;
    status = "okay";
};


&pcie {
	pinctrl-names = "default";
	pinctrl-0 = <&pinctrl_pcie>;
	reset-gpio = <&gpio4 19 GPIO_ACTIVE_LOW>;
	status = "okay";
};

